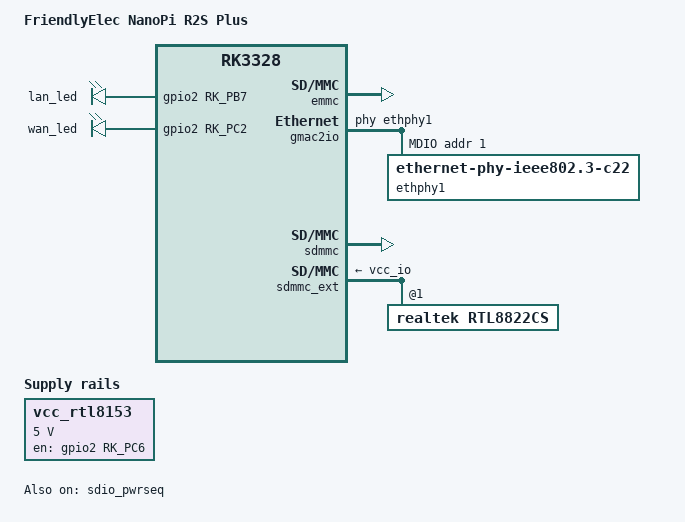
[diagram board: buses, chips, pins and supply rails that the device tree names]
// SPDX-License-Identifier: (GPL-2.0+ OR MIT)
/*
 * Copyright (c) 2023 FriendlyElec Computer Tech. Co., Ltd.
 * (http://www.friendlyarm.com)
 */

/dts-v1/;
#include "rk3328-nanopi-r2-common.dtsi"

/ {
	model = "FriendlyElec NanoPi R2S Plus";
	compatible = "friendlyelec,nanopi-r2", "rockchip,rk3328";

	vcc_rtl8153: vcc-rtl8153-regulator {
		compatible = "regulator-fixed";
		gpio = <&gpio2 RK_PC6 GPIO_ACTIVE_HIGH>;
		pinctrl-names = "default";
		pinctrl-0 = <&usb30_en_drv>;
		regulator-always-on;
		regulator-name = "vcc_rtl8153";
		regulator-min-microvolt = <5000000>;
		regulator-max-microvolt = <5000000>;
		off-on-delay-us = <5000>;
		enable-active-high;
	};
};

&emmc {
	status = "okay";
};

&mach {
	hwrev = <0x24>;
	model = "NanoPi R2S Plus";
};

&rgmiim1_pins {
	rockchip,pins =
		/* mac_txclk */
		<1 RK_PB4 2 &pcfg_pull_none_8ma>,
		/* mac_rxclk */
		<1 RK_PB5 2 &pcfg_pull_none>,
		/* mac_mdio */
		<1 RK_PC3 2 &pcfg_pull_none_2ma>,
		/* mac_txen */
		<1 RK_PD1 2 &pcfg_pull_none_8ma>,
		/* mac_clk */
		<1 RK_PC5 2 &pcfg_pull_none_2ma>,
		/* mac_rxdv */
		<1 RK_PC6 2 &pcfg_pull_none>,
		/* mac_mdc */
		<1 RK_PC7 2 &pcfg_pull_none_2ma>,
		/* mac_rxd1 */
		<1 RK_PB2 2 &pcfg_pull_none>,
		/* mac_rxd0 */
		<1 RK_PB3 2 &pcfg_pull_none>,
		/* mac_txd1 */
		<1 RK_PB0 2 &pcfg_pull_none_8ma>,
		/* mac_txd0 */
		<1 RK_PB1 2 &pcfg_pull_none_8ma>,
		/* mac_rxd3 */
		<1 RK_PB6 2 &pcfg_pull_none>,
		/* mac_rxd2 */
		<1 RK_PB7 2 &pcfg_pull_none>,
		/* mac_txd3 */
		<1 RK_PC0 2 &pcfg_pull_none_8ma>,
		/* mac_txd2 */
		<1 RK_PC1 2 &pcfg_pull_none_8ma>,

		/* mac_txclk */
		<0 RK_PB0 1 &pcfg_pull_none>,
		/* mac_txen */
		<0 RK_PB4 1 &pcfg_pull_none>,
		/* mac_clk */
		<0 RK_PD0 1 &pcfg_pull_none>,
		/* mac_txd1 */
		<0 RK_PC0 1 &pcfg_pull_none>,
		/* mac_txd0 */
		<0 RK_PC1 1 &pcfg_pull_none>,
		/* mac_txd3 */
		<0 RK_PC7 1 &pcfg_pull_none>,
		/* mac_txd2 */
		<0 RK_PC6 1 &pcfg_pull_none>;
};

/delete-node/ &rtl8211e;

&gmac2io {
	phy-handle = <&ethphy1>;
	snps,reset-delays-us = <0 15000 50000>;
	tx_delay = <0x22>;
	rx_delay = <0x12>;

	mdio {
		compatible = "snps,dwmac-mdio";
		#address-cells = <1>;
		#size-cells = <0>;

		ethphy1: ethernet-phy@1 {
			compatible = "ethernet-phy-ieee802.3-c22";
			reg = <0x1>;
			realtek,ledsel = <0xae00>;
		};
	};
};

&leds {
	status = "okay";

	led@2 {
		gpios = <&gpio2 RK_PB7 GPIO_ACTIVE_HIGH>;
		label = "lan_led";
	};

	led@3 {
		gpios = <&gpio2 RK_PC2 GPIO_ACTIVE_HIGH>;
		label = "wan_led";
	};
};

&leds_gpio {
	rockchip,pins =
		<0 RK_PA2 RK_FUNC_GPIO &pcfg_pull_none>,
		<2 RK_PB7 RK_FUNC_GPIO &pcfg_pull_none>,
		<2 RK_PC2 RK_FUNC_GPIO &pcfg_pull_none>;
};

&vccio_sd {
	status = "okay";
};

&io_domains {
	vccio3-supply = <&vccio_sd>;
};

&sdmmc {
	vqmmc-supply = <&vccio_sd>;
	max-frequency = <150000000>;
	sd-uhs-sdr50;
	sd-uhs-sdr104;
	status = "okay";
};

&sdmmc_ext {
	vmmc-supply = <&vcc_io>;
	vqmmc-supply = <&vcc_18>;
	max-frequency = <150000000>;
	sd-uhs-sdr104;
	status = "okay";

	/delete-node/ bcrmf@1;
	rtl8822cs@1 {
		reg = <1>;
		compatible = "realtek,rtl8822cs";
	};
};

&sdmmc0ext_clk {
	rockchip,pins = <3 RK_PA2 3 &pcfg_pull_none_8ma>;
};

&sdmmc0ext_cmd {
	rockchip,pins = <3 RK_PA0 3 &pcfg_pull_up_8ma>;
};

&sdmmc0ext_bus4 {
	rockchip,pins =
		<3 RK_PA4 3 &pcfg_pull_up_8ma>,
		<3 RK_PA5 3 &pcfg_pull_up_8ma>,
		<3 RK_PA6 3 &pcfg_pull_up_8ma>,
		<3 RK_PA7 3 &pcfg_pull_up_8ma>;
};

&sdio_pwrseq {
	status = "okay";
};
